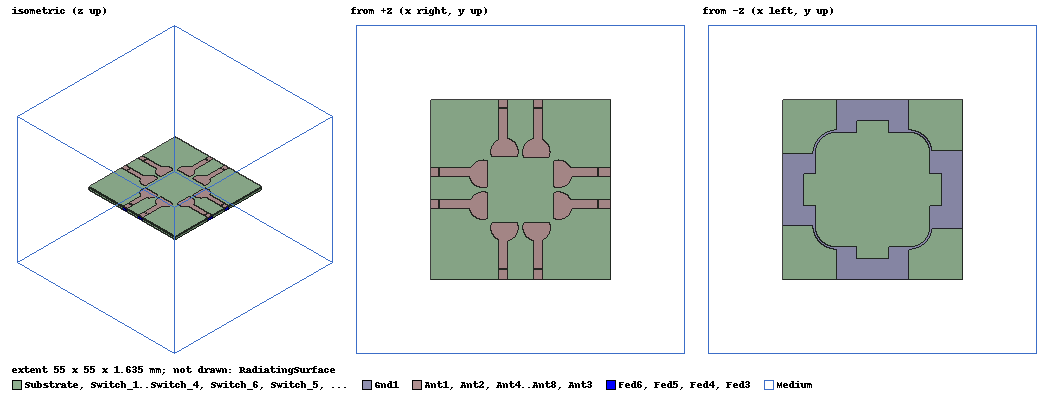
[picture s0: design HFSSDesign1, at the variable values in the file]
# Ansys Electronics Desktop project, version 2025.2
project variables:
  $State = 0
  $sigma_on = 7000S_per_m
  $sigma_off = 82S_per_m
  $sigma_val = if($State==1, $sigma_on,$sigma_off)
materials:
  vacuum: permittivity=1
  air: permittivity=1.0006 permeability=1.0000004
  FR4_epoxy: permittivity=4.4 dielectric_loss_tangent=0.02
  cast_iron: permeability=60 conductivity=1500000
  CdS: permittivity=8.9 conductivity=$sigma_val dielectric_loss_tangent=0.001

design HFSSDesign1 (HFSS, HFSS Terminal Network, model units mm)
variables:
  Patch_Length = 0.4mm
  Patch_Width = 2.7mm
  Thickness = 0.035mm
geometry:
  Medium [air] = box(corner=(0mm, 0mm, -40mm), size=(100mm, 100mm, 80mm))
  Substrate [FR4_epoxy] = box(corner=(22.5mm, 22.5mm, 0mm), size=(55mm, 55mm, 1.6mm))
  Ant1 = rectangle(corner=(22.5mm, 44.1mm, 1.6mm), x_size=12.5mm, y_size=2.7mm)
  Ant2 = rectangle(corner=(22.5mm, 53.9mm, 1.6mm), x_size=12.5mm, y_size=2.7mm)
  Ant4 = rectangle(corner=(53.9mm, 77.5mm, 1.6mm), x_size=2.7mm, y_size=-12.5mm)
  Ellipse1 = ellipse(normal=Z, centre=(38.5mm, 45.1mm, 1.6mm), major_radius=4.2mm, ratio=1)
  Ellipse2 = ellipse(normal=Z, centre=(38.5mm, 54.8mm, 1.6mm), major_radius=4.2mm, ratio=1)
  Ellipse4 = ellipse(normal=Z, centre=(54.8mm, 61.5mm, 1.6mm), major_radius=4.2mm, ratio=1)
  Ant5 = rectangle(corner=(77.5mm, 53.9mm, 1.6mm), x_size=-12.5mm, y_size=2.7mm)
  Ellipse5 = ellipse(normal=Z, centre=(61.5mm, 54.8mm, 1.6mm), major_radius=4.2mm, ratio=1)
  Ant6 = rectangle(corner=(77.5mm, 44.1mm, 1.6mm), x_size=-12.5mm, y_size=2.7mm)
  Ellipse6 = ellipse(normal=Z, centre=(61.5mm, 45.1mm, 1.6mm), major_radius=4.2mm, ratio=1)
  Ant7 = rectangle(corner=(53.9mm, 22.5mm, 1.6mm), x_size=2.7mm, y_size=12.5mm)
  Ellipse7 = ellipse(normal=Z, centre=(54.9mm, 38.5mm, 1.6mm), major_radius=4.2mm, ratio=1)
  Ant8 = rectangle(corner=(46.1mm, 22.5mm, 1.6mm), x_size=-2.7mm, y_size=12.5mm)
  Ellipse8 = ellipse(normal=Z, centre=(45.1mm, 38.5mm, 1.6mm), major_radius=4.2mm, ratio=1)
  Ant3 = rectangle(corner=(46.1mm, 77.5mm, 1.6mm), x_size=-2.7mm, y_size=-12.5mm)
  Ellipse3 = ellipse(normal=Z, centre=(45.1mm, 61.5mm, 1.6mm), major_radius=4.2mm, ratio=1)
  Ant1.unite(Ellipse1)
  Ant2.unite(Ellipse2)
  Ant3.unite(Ellipse3)
  Ant4.unite(Ellipse4)
  Ant5.unite(Ellipse5)
  Ant6.unite(Ellipse6)
  Ant7.unite(Ellipse7)
  Ant8.unite(Ellipse8)
  Gnd1 = rectangle(corner=(22.5mm, 38mm, 0mm), x_size=10mm, y_size=24mm)
  Gnd2 = rectangle(corner=(39mm, 67.5mm, 0mm), x_size=22mm, y_size=10mm)
  Gnd3 = rectangle(corner=(67.5mm, 39mm, 0mm), x_size=10mm, y_size=22mm)
  Gnd4 = rectangle(corner=(39mm, 22.5mm, 0mm), x_size=22mm, y_size=10mm)
  C3 = ellipse(normal=Z, centre=(61mm, 39mm, 0mm), major_radius=7.2mm, ratio=1)
  Ellipse11 = ellipse(normal=Z, centre=(61mm, 39mm, 0mm), major_radius=6.5mm, ratio=1)
  C3.subtract(Ellipse11)
  C4 = ellipse(normal=Z, centre=(39mm, 39mm, 0mm), major_radius=7.2mm, ratio=1)
  Ellipse12 = ellipse(normal=Z, centre=(39mm, 39mm, 0mm), major_radius=6.5mm, ratio=1)
  C4.subtract(Ellipse12)
  C1 = ellipse(normal=Z, centre=(39mm, 61mm, 0mm), major_radius=7.2mm, ratio=1)
  Ellipse14 = ellipse(normal=Z, centre=(39mm, 61mm, 0mm), major_radius=6.5mm, ratio=1)
  C1.subtract(Ellipse14)
  C2 = ellipse(normal=Z, centre=(61mm, 61mm, 0mm), major_radius=7.2mm, ratio=1)
  Ellipse15 = ellipse(normal=Z, centre=(61mm, 61mm, 0mm), major_radius=6.5mm, ratio=1)
  C2.subtract(Ellipse15)
  Gnd1.unite(C1, Gnd2, C2, Gnd3, C3, Gnd4, C4)
  Fed6 = rectangle(corner=(77.5mm, 44.1mm, 1.6mm), y_size=2.7mm, z_size=-1.6mm)
  Fed5 = rectangle(corner=(77.5mm, 53.9mm, 1.6mm), y_size=2.7mm, z_size=-1.6mm)
  Fed2 = rectangle(corner=(22.5mm, 56.6mm, 1.6mm), y_size=-2.7mm, z_size=-1.6mm)
  Fed1 = rectangle(corner=(22.5mm, 46.8mm, 1.6mm), y_size=-2.7mm, z_size=-1.6mm)
  Fed4 = rectangle(corner=(56.6mm, 77.5mm, 1.6mm), z_size=-1.6mm, x_size=-2.7mm)
  Fed3 = rectangle(corner=(46.1mm, 77.5mm, 1.6mm), z_size=-1.6mm, x_size=-2.7mm)
  Fed8 = rectangle(corner=(43.4mm, 22.5mm, 1.6mm), z_size=-1.6mm, x_size=2.7mm)
  Fed7 = rectangle(corner=(53.9mm, 22.5mm, 1.6mm), z_size=-1.6mm, x_size=2.7mm)
  Rectangle1 = rectangle(corner=(32.5mm, 39mm, 0mm), x_size=35mm, y_size=22mm)
  Rectangle2 = rectangle(corner=(39mm, 32.5mm, 0mm), x_size=22mm, y_size=35mm)
  Rectangle1.unite(Rectangle2)
  Gnd1.subtract(Rectangle1)
  RadiatingSurface [vacuum] = region(absolute_offset=20mm on all sides)
  Rectangle3 = rectangle(corner=(40mm, 60mm, 1.6mm), x_size=10mm, y_size=-10mm)
  Rectangle4 = rectangle(corner=(50mm, 40mm, 1.6mm), x_size=-10mm, y_size=10mm)
  Rectangle5 = rectangle(corner=(50mm, 40mm, 1.6mm), x_size=10mm, y_size=10mm)
  Rectangle6 = rectangle(corner=(50mm, 59.7mm, 1.6mm), x_size=10mm, y_size=-10mm)
  Rectangle3_1 = Rectangle3.copy()
  Ant2.subtract(Rectangle3_1)
  Ant3.subtract(Rectangle3)
  Rectangle6_1 = Rectangle6.copy()
  Ant4.subtract(Rectangle6_1)
  Ant5.subtract(Rectangle6)
  Rectangle5_1 = Rectangle5.copy()
  Ant6.subtract(Rectangle5_1)
  Ant7.subtract(Rectangle5)
  Rectangle4_1 = Rectangle4.copy()
  Ant1.subtract(Rectangle4_1)
  Ant8.subtract(Rectangle4)
  Rectangle7 = rectangle(corner=(45mm, 34mm, 0mm), x_size=10mm, y_size=-5mm)
  Rectangle8 = rectangle(corner=(29mm, 55mm, 0mm), x_size=5mm, y_size=-10mm)
  Rectangle9 = rectangle(corner=(45mm, 66mm, 0mm), x_size=10mm, y_size=5mm)
  Rectangle10 = rectangle(corner=(71mm, 55mm, 0mm), x_size=-5mm, y_size=-10mm)
  Gnd1.subtract(Rectangle10, Rectangle7, Rectangle8, Rectangle9)
  coordinate_system RelativeCS1 = origin=(40mm, 55mm, 0mm) x=(-40mm, -55mm, 0mm) y=(0mm, -0.2mm, 1.6mm)
  Switch_1 [CdS] = rectangle(corner=(25mm, 53.9mm, 1.6mm), x_size=Patch_Length, y_size=Patch_Width)
  Switch_2 [CdS] = rectangle(corner=(25mm, 44.1mm, 1.6mm), x_size=Patch_Length, y_size=Patch_Width)
  Switch_6 [CdS] = rectangle(corner=(73.5mm, 53.9mm, 1.6mm), x_size=Patch_Length, y_size=Patch_Width)
  Switch_5 [CdS] = rectangle(corner=(73.5mm, 44.1mm, 1.6mm), x_size=Patch_Length, y_size=Patch_Width)
  Switch_3 [CdS] = rectangle(corner=(46.1mm, 26mm, 1.6mm), x_size=-Patch_Width, y_size=-Patch_Length)
  Switch_4 [CdS] = rectangle(corner=(53.9mm, 26mm, 1.6mm), x_size=Patch_Width, y_size=-Patch_Length)
  Switch_8 [CdS] = rectangle(corner=(46.1mm, 75mm, 1.6mm), x_size=-Patch_Width, y_size=-Patch_Length)
  Switch_7 [CdS] = rectangle(corner=(53.9mm, 75mm, 1.6mm), x_size=Patch_Width, y_size=-Patch_Length)
  Rectangle12_1 = Switch_2.copy()
  Ant1.subtract(Rectangle12_1)
  Rectangle11_1 = Switch_1.copy()
  Ant2.subtract(Rectangle11_1)
  Rectangle18_1 = Switch_8.copy()
  Ant3.subtract(Rectangle18_1)
  Rectangle19_1 = Switch_7.copy()
  Ant4.subtract(Rectangle19_1)
  Rectangle13_1 = Switch_6.copy()
  Ant5.subtract(Rectangle13_1)
  Rectangle14_1 = Switch_5.copy()
  Ant6.subtract(Rectangle14_1)
  Rectangle17_1 = Switch_4.copy()
  Ant7.subtract(Rectangle17_1)
  Rectangle15_1 = Switch_3.copy()
  Ant8.subtract(Rectangle15_1)
  [Switch_1, Switch_2, Switch_6, Switch_5, Switch_3, Switch_4, Switch_8, Switch_7].thicken(0.035mm)
  coordinate_system RelativeCS2 = origin=(4mm, 18mm, 0mm) x=(1mm, 0mm, 0mm) y=(0mm, 1mm, 0mm)
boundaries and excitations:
  PerfE1: Perfect E Objects=Ant1
  PerfE2: Perfect E Objects=Ant2
  PerfE3: Perfect E Objects=Ant3
  PerfE4: Perfect E Objects=Ant4
  PerfE5: Perfect E Objects=Ant5
  PerfE6: Perfect E Objects=Ant6
  PerfE7: Perfect E Objects=Ant7
  PerfE8: Perfect E Objects=Ant8
  PerfE9: Perfect E Objects=Gnd1
  Open1: Radiation Objects=RadiatingSurface
  1: Lumped Port Objects=Fed1 LumpedPortType=Modal Modes{Mode1{IntLine{(22.5, 45.45, 0) -> (22.5, 45.356897, 1.6)} CharImp=Zpi}} Impedance=50ohm
  2: Lumped Port Objects=Fed2 LumpedPortType=Modal Modes{Mode1{IntLine{(22.5, 55.25, 0) -> (22.5, 55.25, 1.6)} CharImp=Zpi}} Impedance=50ohm
  3: Lumped Port Objects=Fed3 LumpedPortType=Modal Modes{Mode1{IntLine{(44.75, 77.5, 0) -> (44.75, 77.5, 1.6)} CharImp=Zpi}} Impedance=50ohm
  4: Lumped Port Objects=Fed4 LumpedPortType=Modal Modes{Mode1{IntLine{(55.25, 77.5, 0) -> (55.25, 77.5, 1.6)} CharImp=Zpi}} Impedance=50ohm
  5: Lumped Port Objects=Fed5 LumpedPortType=Modal Modes{Mode1{IntLine{(77.5, 55.25, 0) -> (77.5, 55.25, 1.6)} CharImp=Zpi}} Impedance=50ohm
  6: Lumped Port Objects=Fed6 LumpedPortType=Modal Modes{Mode1{IntLine{(77.5, 45.45, 0) -> (77.5, 45.45, 1.6)} CharImp=Zpi}} Impedance=50ohm
  7: Lumped Port Objects=Fed7 LumpedPortType=Modal Modes{Mode1{IntLine{(55.25, 22.5, 0) -> (55.25, 22.5, 1.6)} CharImp=Zpi}} Impedance=50ohm
  8: Lumped Port Objects=Fed8 LumpedPortType=Modal Modes{Mode1{IntLine{(44.75, 22.5, 0) -> (44.75, 22.5, 1.6)} CharImp=Zpi}} Impedance=50ohm
  reference conductors: Ant8
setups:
  Setup2: HfssDriven Frequency=5GHz MaxDeltaS=0.02 MaximumPasses=6 MinimumPasses=1 MinimumConvergedPasses=1 PercentRefinement=30 BasisOrder=1 PortAccuracy=2 DrivenSolverType="Direct Solver"
    sweep Sweep: 2GHz to 20GHz step 0.1GHz; Type=Fast SaveFields
    sweep Sweep1: point 9GHz; point 15.1GHz; SaveSingleField Type=Discrete
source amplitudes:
  1:1, 3:1, 4:1, 5:1, 6:1, 7:1, 8:1: 0W 0deg
  2:1: 1W 0deg
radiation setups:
  3D: Infinite Sphere Theta=0deg..180deg step 2deg Phi=-180deg..180deg step 2deg
  Elevation: Infinite Sphere Theta=-180deg..180deg step 1deg Phi=0deg..90deg step 90deg
  Azimuth: Infinite Sphere Theta=90deg..90deg step 0deg Phi=-180deg..180deg step 1deg
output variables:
  ECC = (mag(conjg(S(1,1))*S(1,2)+conjg(S(2,1))*S(2,2)))^2/((1-mag(S(1,1))^2-mag(S(2,1))^2)*(1-mag(S(2,2))^2-mag(S(1,2))^2))
  DG = 10*(sqrt(1-ECC^2))
  TARC = ((sqrt(S(1,1)+S(1,2))^2)+(S(2,1)+S(2,2)^2))/1.414
  CCL = -(log10(1-mag(S(1,1))^2-mag(S(1,2))^2))/log10(2)
  Radiation_Efficiency_Percentage = RadiationEfficiency*100
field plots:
  Vector_Jsurf1: Jsurf over Ant1.face(all 2) Ant2.face(all 2) Ant3.face(all 2) Ant4.face(all 2) Ant5.face(all 2) Ant6.face(all 2) Ant7.face(all 2) Ant8.face(all 2) Gnd1.face(at (50, 50, 0)) on Setup2 : Sweep at Freq=10GHz Phase=180deg
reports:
  Output Variables Plot 1: ECC vs Freq on Setup2 : Sweep
  Output Variables Plot 2: DG vs Freq on Setup2 : Sweep
  Axial Ratio Plot 1: dB(AxialRatioValue) vs Freq on Setup2 : Sweep, 3D [Phi=0deg Theta=0deg]; markers m1 at 6.6GHz, m2 at 9GHz, m3 at 11.9GHz, m4 at 9.254039GHz, m5 at 8.7GHz, m6 at 14.5GHz, m7 at 15.66146GHz, m8 at 15.1GHz
  Gain Plot 1: dB(GainTotal) vs Phi, Theta on Setup2 : LastAdaptive, 3D [Freq=5GHz]
  Gain Plot 2: GainTotal vs Theta on Setup2 : Sweep, Elevation [Phi=all Freq=10GHz]
  CCL graph ON OFF State: CCL vs Freq on Setup2 : Sweep [$State=all]
  TARC: dB20(TARC) vs Freq on Setup2 : Sweep [$State=0,1]
  ECC graph ON OFF State: ECC vs Freq on Setup2 : Sweep [$State=all]
  DG graph ON OFF State: DG vs Freq on Setup2 : Sweep [$State=all]
  Gain Linear Plot: dB(GainTotal) vs Freq on Setup2 : Sweep, Elevation [Phi=0deg Theta=0deg]
  Gain Polar Plot: GainTotal vs Theta on Setup2 : Sweep, Elevation [Phi=all Freq=10GHz]
  Eff vs Freq ON OFF State: Radiation_Efficiency_Percentage vs Freq on Setup2 : Sweep1 [$State=all]
  Antenna Params Plot1: RadiationEfficiency vs Freq on Setup2 : Sweep1
  Antenna Params Plot3: mag(RadiationEfficiency) vs Freq on Setup2 : Sweep
  Antenna Params Plot4: dB(RadiationEfficiency) vs Freq on Setup2 : Sweep
  Reflection Coefficient OFF State: dB(St(1,1)), dB(St(2,2)), dB(St(3,3)), dB(St(4,4)), dB(St(5,5)), dB(St(6,6)), dB(St(7,7)), dB(St(8,8)) vs Freq on Setup2 : Sweep [$State=0]
  Reflection Coefficient ON State: dB(St(1,1)), dB(St(2,2)), dB(St(3,3)), dB(St(4,4)), dB(St(5,5)), dB(St(6,6)), dB(St(7,7)), dB(St(8,8)) vs Freq on Setup2 : Sweep [$State=1]
  Transmission Coefficient OFF State: dB(St(2,1)), dB(St(3,1)), dB(St(4,1)), dB(St(5,1)), dB(St(6,1)), dB(St(7,1)), dB(St(8,1)) vs Freq on Setup2 : Sweep [$State=0]
  Transmission Coefficient ON State: dB(St(2,1)), dB(St(3,1)), dB(St(4,1)), dB(St(5,1)), dB(St(6,1)), dB(St(7,1)), dB(St(8,1)) vs Freq on Setup2 : Sweep [$State=1]
  S11 OFF ON State: dB(St(1,1)) vs Freq on Setup2 : Sweep [$State=0,1]; markers m1 at 10.4GHz
